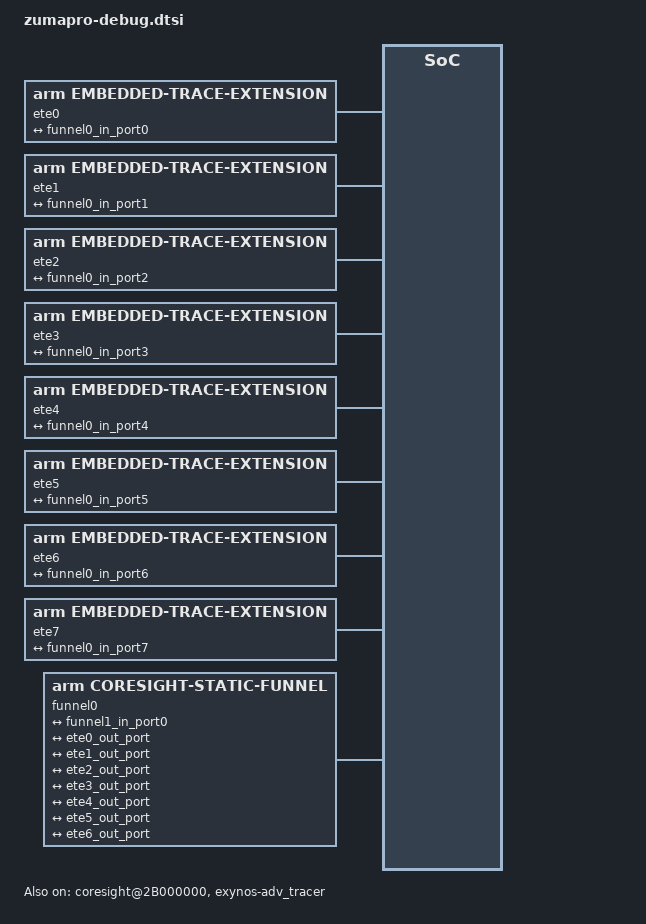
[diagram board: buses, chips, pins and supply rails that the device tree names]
// SPDX-License-Identifier: GPL-2.0-only
/*
 * debug device tree source code for Zuma SoC
 *
 * Copyright 2022 Google LLC.
 */

#include <dt-bindings/interrupt-controller/zumapro.h>
#include "zumapro-ppmu.dtsi"
/ {
	dss: dss {
		compatible = "google,debug-snapshot";
		freq_names = "LIT", "MID", "BIG", "INT", "MIF", "ISP",
				"DISP", "INTCAM", "TPU", "TNR", "MFC",
				"BO", "DSU";
		memory-region = <&header>, <&log_kevents>, <&log_bcm>, <&log_s2d>,
				<&log_arrdumpreset>, <&log_arrdumppanic>,
				<&log_slcdump>, <&log_preslcdump>,
				<&log_itmon>;
		panic-action = <GO_DEFAULT_ID>;
	};

	hardlockup-debugger {
		compatible = "google,hardlockup-debug";
		use_multistage_wdt_irq = <800>;
	};

	hardlockup-watchdog {
		compatible = "google,hardlockup-watchdog";
		sampling_time = <4>;
		opportunity_count = <3>;
		panic = <1>;
	};

	dss-built {
		compatible = "google,debug-snapshot-built";
		memory-region = <&header>;
	};

	dss-qdump {
		compatible = "google,debug-snapshot-qdump";
	};

	dss-sfrdump {
		compatible = "google,debug-snapshot-sfrdump";
		/*
		 * -----------<< Example >>-------------------
		 * dump-info {
		 *	#address-cells = <1>;
		 *	#size-cells = <1>;
		 *
		 *	gic-setenable {
		 *		reg = <0x11f01100 0x100>;
		 *	};
		 *	gic-setpend {
		 *		reg = <0x11f01200 0x100>;
		 *	};
		 *	gic-setactive {
		 *		reg = <0x11f01300 0x100>;
		 *	};
		 *};
		 */
	};

	dss-debug-kinfo {
		compatible = "google,debug-snapshot-debug-kinfo";
		memory-region = <&debug_kinfo_reserved>;
	};

	exynos-debug-test {
		compatible = "google,exynos-debug-test";
		ps_hold_control_offset = <0x3e9c>;
		nr_cpu = <0x8>;
		nr_little_cpu = <0x4>;
		nr_mid_cpu = <0x3>;
		nr_big_cpu = <0x1>;
		little_cpu_start = <0x0>;
		mid_cpu_start = <0x4>;
		big_cpu_start = <0x7>;
	};

	keydebug {
		compatible = "keydebug";
		key_down_delay = <6000>;
		keys_down = <116 115>;
		dbg_fn_delay = <2000>;
	};

	debug-kinfo {
		compatible = "google,debug-kinfo";
		memory-region = <&debug_kinfo_reserved>;
	};

	boot-metrics {
		compatible = "google,boot-metrics";

		reg = <0x0 0x02038000 0x00001000>;
		reg-names = "ns_sram_base";
		offset = <0x880>;
	};

	pixel-suspend-diag {
		compatible = "google,pixel-suspend-diag";
	};

	pmu@30000000 {
		compatible = "arm,ci-700";
		reg = <0x0 0x30000000 0x4000000>;
		interrupts = <GIC_SPI IRQ_CPUCL0_INTREQPMU_NID68_CPUCL0 IRQ_TYPE_LEVEL_HIGH 0>;
	};

	itmon: exynos-itmon {
		compatible = "samsung,exynos-itmon-v2";
		memory-region = <&log_itmon>;
		interrupts =
			<GIC_SPI IRQ_TREX_D_NOCL1A_debugInterrupt_NOCL1A
							IRQ_TYPE_LEVEL_HIGH 0>,
			<GIC_SPI IRQ_TREX_D_NOCL1B_debugInterrupt_NOCL1B
							IRQ_TYPE_LEVEL_HIGH 0>,
			<GIC_SPI IRQ_TREX_D_NOCL2AA_debugInterrupt_NOCL2AA
							IRQ_TYPE_LEVEL_HIGH 0>,
			<GIC_SPI IRQ_TREX_D_NOCL2AB_debugInterrupt_NOCL2AB
							IRQ_TYPE_LEVEL_HIGH 0>,
			<GIC_SPI IRQ_TREX_D_NOCL0_debugInterrupt_NOCL0
							IRQ_TYPE_LEVEL_HIGH 0>,
			<GIC_SPI IRQ_TREX_P_NOCL1A_debugInterrupt_NOCL1A
							IRQ_TYPE_LEVEL_HIGH 0>,
			<GIC_SPI IRQ_TREX_P_NOCL1B_debugInterrupt_NOCL1B
							IRQ_TYPE_LEVEL_HIGH 0>,
			<GIC_SPI IRQ_TREX_P_NOCL2AA_debugInterrupt_NOCL2AA
							IRQ_TYPE_LEVEL_HIGH 0>,
			<GIC_SPI IRQ_TREX_P_NOCL2AB_debugInterrupt_NOCL2AB
							IRQ_TYPE_LEVEL_HIGH 0>,
			<GIC_SPI IRQ_TREX_P_NOCL0_debugInterrupt_NOCL0
							IRQ_TYPE_LEVEL_HIGH 0>;
		interrupt-affinity = <0xff>;
		status = "ok";
	};

	booker {
		compatible = "google,booker-ci";
		reg_base = <0x30000000>;
		interrupts =
			<GIC_SPI IRQ_CPUCL0_INTREQERRNS_NID68_CPUCL0
							IRQ_TYPE_LEVEL_HIGH 0>,
			<GIC_SPI IRQ_CPUCL0_INTREQERRS_NID68_CPUCL0
							IRQ_TYPE_LEVEL_HIGH 0>,
			<GIC_SPI IRQ_CPUCL0_INTREQFAULTNS_NID68_CPUCL0
							IRQ_TYPE_LEVEL_HIGH 0>,
			<GIC_SPI IRQ_CPUCL0_INTREQFAULTS_NID68_CPUCL0
							IRQ_TYPE_LEVEL_HIGH 0>;
		interrupt-names = "BCI: Non-secure error",
			"BCI: Secure error",
			"BCI: Non-secure fault",
			"BCI: Secure fault";
		interrupt-is-secure = <0>, <1>, <0>, <1>;
		interrupt-is-error = <1>, <1>, <0>, <0>;
		status = "ok";
		node0 {
			device_type = "booker-cfg";
			offset = <0x0>;
			id = <68>;
		};
		node1 {
			device_type = "booker-mtsx";
			offset = <0x210000>;
			id = <4>;
		};
		node2 {
			device_type = "booker-mtsx";
			offset = <0x250000>;
			id = <5>;
		};
		node3 {
			device_type = "booker-mtsx";
			offset = <0x1210000>;
			id = <36>;
		};
		node4 {
			device_type = "booker-mtsx";
			offset = <0x1250000>;
			id = <37>;
		};
		node5 {
			device_type = "booker-hnf";
			offset = <0x390000>;
			id = <6>;
		};
		node6 {
			device_type = "booker-hnf";
			offset = <0x3d0000>;
			id = <7>;
		};
		node7 {
			device_type = "booker-hnf";
			offset = <0x1390000>;
			id = <38>;
		};
		node8 {
			device_type = "booker-hnf";
			offset = <0x13D0000>;
			id = <39>;
		};
		node9 {
			device_type = "booker-rnf";
			offset = <0xA0000>;
			id = <0>;
		};
		node10 {
			device_type = "booker-rnf";
			offset = <0x10A0000>;
			id = <32>;
		};
		node11 {
			device_type = "booker-rnf";
			offset = <0x20A0000>;
			id = <64>;
		};
		node12 {
			device_type = "booker-rnd";
			offset = <0x280000>;
			id = <2>;
		};
		node13 {
			device_type = "booker-rnd";
			offset = <0x1280000>;
			id = <34>;
		};
		node14 {
			device_type = "booker-hni";
			offset = <0x2180000>;
			id = <66>;
		};
		node15 {
			device_type = "booker-hnd";
			offset = <0x2150000>;
			id = <68>;
		};
		node16 {
			device_type = "booker-xp";
			offset = <0x20000>;
			id = <0>;
		};
		node17 {
			device_type = "booker-xp";
			offset = <0x1020000>;
			id = <32>;
		};
		node18 {
			device_type = "booker-xp";
			offset = <0x2020000>;
			id = <64>;
		};
	};

	coresight@2B000000 {
		compatible = "google,exynos-coresight";
		dbg_base = <0x2B090000>, <0x2B110000>, <0x2B190000>, <0x2B210000>,
			   <0x2B290000>, <0x2B310000>, <0x2B390000>, <0x2B410000>;
		cti_base = <0x2B0F0000>, <0x2B170000>, <0x2B1F0000>, <0x2B270000>,
			   <0x2B2F0000>, <0x2B370000>, <0x2B3F0000>, <0x2B470000>;
		pmu_base = <0x2B0A0000>, <0x2B120000>, <0x2B1A0000>, <0x2B220000>,
			   <0x2B2A0000>, <0x2B320000>, <0x2B3A0000>, <0x2B420000>;
		sgi_base = <0x10450000>, <0x10470000>, <0x10490000>, <0x104B0000>,
			   <0x104D0000>, <0x104F0000>, <0x10510000>, <0x10530000>;
		gpr_base = <0x2A001000>;
		dbgack-mask = <0x1ff00000>;
		halt = <1>;
		retention = <1>;
		status = "okay";
	};

	ecc-handler {
		compatible = "google,exynos-ecc-handler";
		interrupts = <GIC_SPI IRQ_CPUCL0_CLUSTERERRIRQ_CPUCL0 IRQ_TYPE_LEVEL_HIGH 0>,
			<GIC_SPI IRQ_CPUCL0_COMPLEXERRIRQ_CPUCL0 IRQ_TYPE_LEVEL_HIGH 0>,
			<GIC_SPI IRQ_CPUCL0_COMPLEXERRIRQ_0_CPUCL0 IRQ_TYPE_LEVEL_HIGH 0>,
			<GIC_SPI IRQ_CPUCL0_ERRIRQ_0_CPUCL0 IRQ_TYPE_LEVEL_HIGH 0>, /* CORE0 */
			<GIC_SPI IRQ_CPUCL0_ERRIRQ_1_CPUCL0 IRQ_TYPE_LEVEL_HIGH 0>, /* CORE1 */
			<GIC_SPI IRQ_CPUCL0_ERRIRQ_2_CPUCL0 IRQ_TYPE_LEVEL_HIGH 0>, /* CORE2 */
			<GIC_SPI IRQ_CPUCL0_ERRIRQ_3_CPUCL0 IRQ_TYPE_LEVEL_HIGH 0>, /* CORE3 */
			<GIC_SPI IRQ_CPUCL0_ERRIRQ_4_CPUCL0 IRQ_TYPE_LEVEL_HIGH 0>, /* CORE4 */
			<GIC_SPI IRQ_CPUCL0_ERRIRQ_5_CPUCL0 IRQ_TYPE_LEVEL_HIGH 0>, /* CORE5 */
			<GIC_SPI IRQ_CPUCL0_ERRIRQ_6_CPUCL0 IRQ_TYPE_LEVEL_HIGH 0>, /* CORE6 */
			<GIC_SPI IRQ_CPUCL0_ERRIRQ_7_CPUCL0 IRQ_TYPE_LEVEL_HIGH 0>; /* CORE7 */
		interrupt-names = "Uncorrectable errors on the L3 data, tag or snoop filter RAMs",
			"Core0-1 Complex, Uncorrectable errors on the L2 data or tag RAMs",
			"Core2-3 Complex, Uncorrectable errors on the L2 data or tag RAMs",
			"Core0, Uncorrectable errors on the L1 data or tag RAMs",
			"Core1, Uncorrectable errors on the L1 data or tag RAMs",
			"Core2, Uncorrectable errors on the L1 data or tag RAMs",
			"Core3, Uncorrectable errors on the L1 data or tag RAMs",
			"Core4, Uncorrectable errors on the L1 data, tag or L2 data, tag RAMs",
			"Core5, Uncorrectable errors on the L1 data, tag or L2 data, tag RAMs",
			"Core6, Uncorrectable errors on the L1 data, tag or L2 data, tag RAMs",
			"Core7, Uncorrectable errors on the L1 data, tag or L2 data, tag RAMs";
		interrupt-affinity = <0x1ff>, <0x3>, <0xc>,
			<0x1>, <0x2>, <0x4>, <0x8>,
			<0x10>, <0x20>, <0x40>, <0x80>, <0x100>;
	};

	exynos-etm {
		compatible = "google,exynos-etm";
		cs_base = <0x2A000000>;
		boot-start = <0>;
		funnel-num = <3>;
		etf-num = <2>;
		trex-num = <4>;
		/* funnel-port = <(funnel num) (port num)>; */
		etm0 {
			device_type = "etm";
			offset = <0x10B0000>;
			funnel-port = <0 0>;
		};
		etm1 {
			device_type = "etm";
			offset = <0x1130000>;
			funnel-port = <0 0>;
		};
		etm2 {
			device_type = "etm";
			offset = <0x11B0000>;
			funnel-port = <0 0>;
		};
		etm3 {
			device_type = "etm";
			offset = <0x1230000>;
			funnel-port = <0 0>;
		};
		etm4 {
			device_type = "etm";
			offset = <0x12B0000>;
			funnel-port = <0 0>;
		};
		etm5 {
			device_type = "etm";
			offset = <0x1330000>;
			funnel-port = <0 0>;
		};
		etm6 {
			device_type = "etm";
			offset = <0x13B0000>;
			funnel-port = <0 0>;
		};
		etm7 {
			device_type = "etm";
			offset = <0x1430000>;
			funnel-port = <0 0>;
		};
		etf0@4000 {
			device_type = "etf";
			offset = <0x4000>;
			funnel-port = <2 0>;
		};
		etf1@5000 {
			device_type = "etf";
			offset = <0x5000>;
			funnel-port = <2 1>;
		};
		funnel0@7000 {
			device_type = "funnel";
			offset = <0x7000>;
		};
		funnel1@8000 {
			device_type = "funnel";
			offset = <0x8000>;
		};
		funnel2@9000 {
			device_type = "funnel";
			offset = <0x9000>;
		};
		etr@A000 {
			device_type = "etr";
			sfr_base = <0x2A00C000 0x100>;
			qch-offset = <0x2c>;
			offset = <0xA000>;
			buf-size = <0x100000>;
		};
		bdu@10000 {
			device_type = "bdu";
			offset = <0x10000>;
			funnel-port = <1 5>;
		};
		bdu_etf@11000 {
			device_type = "bdu_etf";
			offset = <0x11000>;
		};
		trex0 {
			device_type = "trex";
			mux_ctrl = <0x66>;
			dbg_trace_addr = <0x1ea83010>;
			dbg_trace_val = <5>;
		};
		trex1 {
			device_type = "trex";
			mux_ctrl = <0x77>;
			dbg_trace_addr = <0x1f603010>;
			dbg_trace_val = <26>;
		};
		trex2 {
			device_type = "trex";
			mux_ctrl = <0x88>;
			dbg_trace_addr = <0x204e3010>;
			dbg_trace_val = <8>;
		};
		trex3 {
			device_type = "trex";
			mux_ctrl = <0x55>;
			dbg_trace_addr = <0x1e503010>;
			dbg_trace_val = <8>;
		};
	};

	ete0 {
		compatible = "arm,embedded-trace-extension";
		cpu = <&cpu0>;

		out-ports {
			port {
				ete0_out_port: endpoint {
					remote-endpoint = <&funnel0_in_port0>;
				};
			};
		};
	};

	ete1 {
		compatible = "arm,embedded-trace-extension";
		cpu = <&cpu1>;

		out-ports {
			port {
				ete1_out_port: endpoint {
					remote-endpoint = <&funnel0_in_port1>;
				};
			};
		};
	};

	ete2 {
		compatible = "arm,embedded-trace-extension";
		cpu = <&cpu2>;

		out-ports {
			port {
				ete2_out_port: endpoint {
					remote-endpoint = <&funnel0_in_port2>;
				};
			};
		};
	};

	ete3 {
		compatible = "arm,embedded-trace-extension";
		cpu = <&cpu3>;

		out-ports {
			port {
				ete3_out_port: endpoint {
					remote-endpoint = <&funnel0_in_port3>;
				};
			};
		};
	};

	ete4 {
		compatible = "arm,embedded-trace-extension";
		cpu = <&cpu4>;

		out-ports {
			port {
				ete4_out_port: endpoint {
					remote-endpoint = <&funnel0_in_port4>;
				};
			};
		};
	};

	ete5 {
		compatible = "arm,embedded-trace-extension";
		cpu = <&cpu5>;

		out-ports {
			port {
				ete5_out_port: endpoint {
					remote-endpoint = <&funnel0_in_port5>;
				};
			};
		};
	};

	ete6 {
		compatible = "arm,embedded-trace-extension";
		cpu = <&cpu6>;

		out-ports {
			port {
				ete6_out_port: endpoint {
					remote-endpoint = <&funnel0_in_port6>;
				};
			};
		};
	};

	ete7 {
		compatible = "arm,embedded-trace-extension";
		cpu = <&cpu7>;

		out-ports {
			port {
				ete7_out_port: endpoint {
					remote-endpoint = <&funnel0_in_port7>;
				};
			};
		};
	};

	funnel0 {
		compatible = "arm,coresight-static-funnel";

		coresight-name = "coresight-funnel0";

		out-ports {
			port {
				funnel0_out_port: endpoint {
					remote-endpoint = <&funnel1_in_port0>;
				};
			};
		};

		in-ports {
			port@0 {
				reg = <0>;
				funnel0_in_port0: endpoint {
					remote-endpoint = <&ete0_out_port>;
				};
			};

			port@1 {
				reg = <1>;
				funnel0_in_port1: endpoint {
					remote-endpoint = <&ete1_out_port>;
				};
			};

			port@2 {
				reg = <2>;
				funnel0_in_port2: endpoint {
					remote-endpoint = <&ete2_out_port>;
				};
			};

			port@3 {
				reg = <3>;
				funnel0_in_port3: endpoint {
					remote-endpoint = <&ete3_out_port>;
				};
			};

			port@4 {
				reg = <4>;
				funnel0_in_port4: endpoint {
					remote-endpoint = <&ete4_out_port>;
				};
			};

			port@5 {
				reg = <5>;
				funnel0_in_port5: endpoint {
					remote-endpoint = <&ete5_out_port>;
				};
			};

			port@6 {
				reg = <6>;
				funnel0_in_port6: endpoint {
					remote-endpoint = <&ete6_out_port>;
				};
			};

			port@7 {
				reg = <7>;
				funnel0_in_port7: endpoint {
					remote-endpoint = <&ete7_out_port>;
				};
			};
		};
	};

	funnel1: funnel@2a007000 {
		compatible = "arm,primecell";
		arm,primecell-periphid = <0x000bb908>;

		reg = <0 0x2a007000 0x1000>;
		reg-names = "funnel-base";

		coresight-name = "coresight-funnel1";

		clocks = <&clock ATCLK>;
		clock-names = "apb_pclk";

		out-ports {
			port {
				funnel1_out_port: endpoint {
					remote-endpoint = <&etf0_in_port>;
				};
			};
		};

		in-ports {
			#address-cells = <1>;
			#size-cells = <0>;
			port {
				reg = <0>;
				funnel1_in_port0: endpoint {
					remote-endpoint = <&funnel0_out_port>;
				};
			};
		};
	};


	funnel2: funnel@2a009000 {
		compatible = "arm,primecell";
		arm,primecell-periphid = <0x000bb908>;

		reg = <0 0x2a009000 0x1000>;
		reg-names = "funnel-base";

		coresight-name = "coresight-funnel2";

		clocks = <&clock ATCLK>;
		clock-names = "apb_pclk";

		out-ports {
			port {
				funnel2_out_port: endpoint {
					remote-endpoint = <&etr_in_port>;
				};
			};
		};

		in-ports {
			#address-cells = <1>;
			#size-cells = <0>;

			port@0 {
				reg = <0>;
				funnel2_in_port0: endpoint {
					remote-endpoint = <&etf0_out_port>;
				};
			};
		};
	};

	etf0: etf@2a004000 {
		compatible = "arm,coresight-tmc", "arm,primecell";
		arm,primecell-periphid = <0x001bb961>;
		reg = <0 0x2a004000 0x1000>;

		coresight-name = "coresight-etf0";

		clocks = <&clock ATCLK>;
		clock-names = "apb_pclk";

		in-ports {
			port {
				etf0_in_port: endpoint {
					remote-endpoint = <&funnel1_out_port>;
				};
			};
		};

		out-ports {
			port {
				etf0_out_port: endpoint {
					remote-endpoint = <&funnel2_in_port0>;
				};
			};
		};
	};

	etr: etr@2a00a000 {
		compatible = "arm,coresight-tmc", "arm,primecell";
		arm,primecell-periphid = <0x001bb961>;
		reg = <0 0x2a00a000 0x1000>;

		coresight-name = "coresight-etr";
		arm,scatter-gather;

		clocks = <&clock ATCLK>;
		clock-names = "apb_pclk";

		in-ports {
			port {
				etr_in_port: endpoint {
					remote-endpoint = <&funnel2_out_port>;
				};
			};
		};
	};

	etr-miu@110D0000 {
		compatible = "google,gs101-etr-miu";
		reg = <0x0 0x110D0000 0x100>;
		tmc_buf_addr = <0x00000010 0x00000000>;
		tmc_buf_size = <0x10000000>;
	};

	exynos-adv_tracer {
		compatible = "google,exynos-adv-tracer";
		reg = <0x0 0x15260000 0x1000>;
		reg-names = "mailbox";
		interrupts = <GIC_SPI IRQ_MAILBOX_DBGCORE2AP_ALIVE IRQ_TYPE_LEVEL_HIGH 0>;
		pmu-dbgcore-config = <0x3080>;
		pmu-dbgcore-status = <0x3084>;
		intr-bitoffset = <0>;
		irq_affinity = "2-3";
		status = "okay";
	};

	exynos_adv_tracer_s2d {
		compatible = "google,exynos-adv-tracer-s2d";
		plugin-len = <3>;
		plugin-name = "S2D";
		pmu-burnin-ctrl = <0x3cd0>;
		sel-scanmode-bit = <25>;
		dbgsel-sw-bit = <4>;
		blk-list = "AOC", "AOCCORE", "AUR", "AURCORE", "BW",
			   "BWCORE","CMU", "CPUCL0", "CLUSTER0", "DPUB",
			   "DPUF0", "DPUF1", "EH", "G2D", "G3D",
			   "GPU", "GDC", "GSA", "GSE", "HSI0",
			   "HSI1", "HSI2", "ISPFE", "ISPFECORE", "MCSC",
			   "MFC", "MIF1", "MIF2", "MIF3", "MISC",
			   "NOCL0", "NOCL1A", "NOCL1B", "NOCL2AA", "NOCL2AB",
			   "PERIC0", "PERIC1", "RGBP", "TNR", "TPU",
			   "TPUCORE", "YUVP", "SLC0", "SLC1", "SLC2",
			   "SLC3";

		status = "okay";
	};

	exynos-ehld {
		compatible = "google,exynos-ehld";
		#address-cells = <1>;
		#size-cells = <1>;
		cs_base = <0x2b000000>;
		sgi_base = <0x10450000>, <0x10470000>, <0x10490000>, <0x104B0000>,
			   <0x104D0000>, <0x104F0000>, <0x10510000>, <0x10530000>;
		status = "ok";

		dbgc {
			/* IPC */
			plugin-len = <4>;
			plugin-name = "ELD";
			support = <1>;
			interval = <1000>;
			warn-count = <4>;
			use-tick-timer = <0>;
		};

		cpu0 {
			dbg-offset = <0x90000>;
		};
		cpu1 {
			dbg-offset = <0x110000>;
		};
		cpu2 {
			dbg-offset = <0x190000>;
		};
		cpu3 {
			dbg-offset = <0x210000>;
		};
		cpu4 {
			dbg-offset = <0x290000>;
		};
		cpu5 {
			dbg-offset = <0x310000>;
		};
		cpu6 {
			dbg-offset = <0x390000>;
		};
		cpu7 {
			dbg-offset = <0x410000>;
		};
	};

	sjtag_ap {
		compatible = "google,sjtag";
		ms-per-tick = <5590>;
		ipc-timeout-ms = <3000>;
		pubkey = /bits/ 8 <0x05 0x57 0xa1 0x5c 0xcb 0x6b 0xdf 0x38 0xeb 0x1a 0xdb 0xac
				   0x9f 0xf2 0x19 0xb5 0x97 0xf7 0x6e 0x8f 0xe0 0x9b 0xb8 0xa6
				   0x95 0x41 0xce 0xd1 0x03 0x6d 0x61 0xd4 0xbf 0xd1 0x0a 0x60
				   0x16 0x30 0x14 0xd0 0x35 0xa2 0x72 0xba 0xba 0xea 0x8f 0x5e
				   0xb1 0xcc 0x15 0x99 0x8e 0xa2 0xeb 0x5c 0x71 0x5b 0xb4 0x96
				   0x76 0x8d 0xe0 0x97 0xc0 0x01 0x00 0x00 0x1e 0x1c 0x7f 0xda
				   0xd4 0x33 0x02 0x01 0x3d 0xfa 0xb1 0x23 0x3e 0xc7 0xd9 0x5a
				   0xa4 0xb8 0xda 0x6c 0xe5 0x90 0x3b 0x90 0xcd 0x2d 0x3c 0x47
				   0x78 0xa1 0xc8 0x9a 0x25 0x16 0x74 0x1c 0xb9 0x0e 0xd5 0xc7
				   0x79 0xa0 0x62 0x6a 0x02 0x3c 0x37 0x14 0x75 0x42 0x94 0xb2
				   0x92 0xfe 0x7e 0x43 0xbc 0x05 0xd7 0x84 0xdd 0xff 0xfe 0xd5
				   0x4c 0x00 0x00 0x00>;
		dbg-domain = <0x80282ff9>;
		access-lvl = <0xc0000cc0 0x0cffffc3>;
		dbg-itvl = <0>;
		gsa-device = <&gsa>;
	};

	sjtag_gsa {
		compatible = "google,sjtag";
		ms-per-tick = <5590>;
		ipc-timeout-ms = <450>;
		pubkey = /bits/ 8 <0xe4 0xa8 0x65 0x8d 0xa4 0x41 0xb4 0x96 0x11 0x2a 0xdb 0xad
				   0x69 0xc0 0xa6 0x94 0x6a 0x50 0xcf 0xe4 0xfa 0xb0 0xdd 0x5a
				   0x04 0x39 0xb2 0x21 0xf0 0x0d 0xa9 0xe9 0xa7 0x55 0x54 0x78
				   0x11 0xff 0xf4 0x2a 0xe6 0x41 0x7c 0x4e 0xf2 0xec 0xc3 0xb3
				   0x61 0xca 0x58 0xed 0x66 0x69 0x6a 0xdf 0xf6 0x18 0xb1 0x15
				   0xd9 0xf0 0x75 0xda 0xb2 0x01 0x00 0x00 0x73 0xf8 0x34 0x00
				   0x71 0xa4 0x8f 0x1c 0xf7 0x05 0x79 0x6b 0xf6 0xac 0x28 0x71
				   0xa5 0x06 0x37 0x5d 0x81 0x39 0x0c 0xe8 0x21 0xe6 0xcb 0xd7
				   0x4f 0x41 0x9a 0x5e 0x65 0x90 0x5b 0x83 0x52 0xaf 0x32 0x2f
				   0xbe 0x28 0xbf 0x25 0xae 0x68 0x6c 0x82 0xb8 0xb5 0x8e 0xd3
				   0x4b 0x4e 0x7d 0x77 0xc9 0x74 0x08 0xf3 0xde 0xf4 0x50 0x37
				   0x18 0x00 0x00 0x00>;
		dbg-domain = <0x0000006f>;
		access-lvl = <0x00000000 0x00003cff>;
		dbg-itvl = <0>;
		gsa-device = <&gsa>;
	};
};
